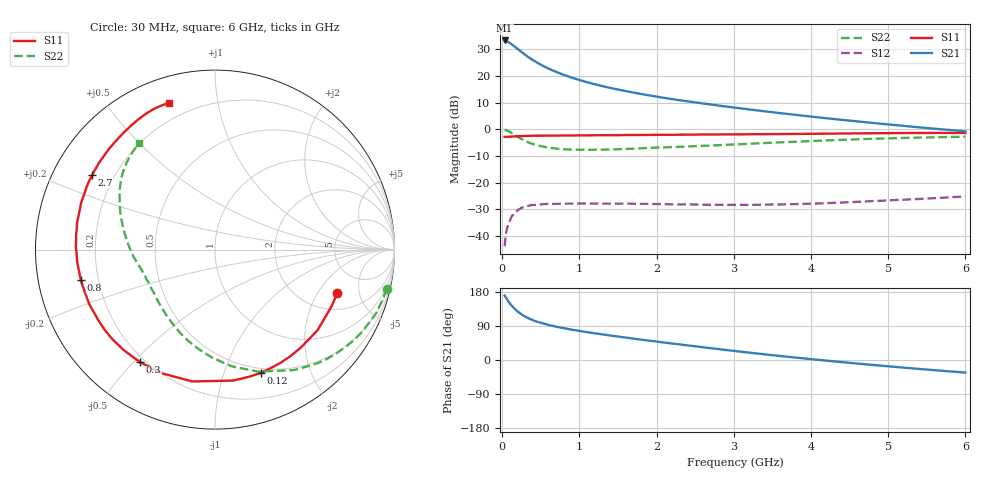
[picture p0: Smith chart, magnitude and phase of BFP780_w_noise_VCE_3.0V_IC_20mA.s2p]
! Infineon Technologies  Discrete & RF Semiconductors
! BFP780
! VCE =  3.0 V,  IC =  20 mA
! Common Emitter S-Parameters:  Jul 2015
# GHz  S  MA  R  50
!  f  S11  S21  S12  S22
! GHz  MAG  ANG  MAG  ANG  MAG  ANG  MAG  ANG
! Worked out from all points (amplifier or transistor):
!   75 points, 30 MHz to 6 GHz, reference 50 ohm
!   highest |S21| = 33.3 dB at 30 MHz (marker M1)
!   |S21| within 3 dB of that: start of sweep to 191.4 MHz
!   unconditionally stable (mu >= 1): 2.369 GHz to end of sweep
!   at 150 MHz: K = 0.07, MSG = 31.4 dB, |S12| = -31.6 dB
!   at 2.3 GHz: K = 0.98, MSG = 19.5 dB, |S12| = -28.1 dB
!   at 6 GHz: K = 1.40, MAG = 8.4 dB, |S12| = -25.1 dB
!   lowest NFmin = 0.94 dB at 450 MHz
!   S11 on the Smith chart (normalised r, x): 30 MHz: 2.99, -3.02; 120 MHz: 0.45, -1.34; 300 MHz: 0.18, -0.52; 800 MHz: 0.13, -0.11; 2.7 GHz: 0.12, +0.28; 6 GHz: 0.12, +0.73
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0.03  0.7227 -19.5  46.12 170.1  0.0065 80.0  0.9822 -12.9
0.05  0.7206 -32.3  45.23 163.4  0.0117 63.8  0.965 -21.6
0.07  0.7234 -43.8  43.84 157.3  0.0153 68.5  0.9382 -29.4
0.1  0.729 -59.8  41.18 149.0  0.0198 60.5  0.8897 -40.5
0.12  0.7325 -69.6  39.27 143.9  0.023 56.1  0.8555 -47.5
0.15  0.7362 -82.5  36.44 137.2  0.0262 50.3  0.8015 -56.9
0.2  0.7454 -99.8  31.91 127.7  0.0307 41.5  0.7212 -70.5
0.25  0.7495 -113.0  27.96 120.2  0.034 35.8  0.6577 -81.7
0.3  0.7534 -123.6  24.66 114.1  0.0354 31.7  0.603 -91.4
0.35  0.7561 -131.9  21.91 109.1  0.0375 26.8  0.5613 -99.4
0.4  0.7591 -138.6  19.66 104.8  0.0384 23.8  0.53 -106.4
0.5  0.7599 -148.7  16.2 98.1  0.0393 19.4  0.4833 -117.7
0.6  0.7636 -156.4  13.71 92.5  0.0403 15.9  0.4554 -126.6
0.8  0.7667 -167.2  10.43 83.9  0.0407 11.6  0.4254 -139.8
1.1  0.7712 -178.2  7.614 73.5  0.0408 7.9  0.4131 -153.2
1.5  0.7786 171.5  5.553 61.9  0.0406 5.2  0.4237 -164.4
2.1  0.7905 159.3  3.88 46.0  0.0398 3.2  0.4593 -176.3
2.7  0.7994 148.8  2.915 31.2  0.0388 3.9  0.4976 173.0
3.1  0.8078 142.2  2.458 21.7  0.0387 5.5  0.5294 165.9
4.1  0.8274 127.6  1.673 0.3  0.041 10.5  0.6117 150.4
5.1  0.8511 115.8  1.198 -18.4  0.0476 12.6  0.6836 136.9
6  0.8574 107.3  0.918 -33.2  0.0555 10.8  0.7291 125.3
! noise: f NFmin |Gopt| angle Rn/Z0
0.45  0.94  0.15  144  0.07
0.9  1  0.21  161  0.09
1.5  1.11  0.31  175  0.06
1.8  1.3  0.38  -175  0.07
2.4  1.47  0.43  -159  0.08
3  1.8  0.48  -146  0.12
3.5  2.39  0.54  -130  0.2
